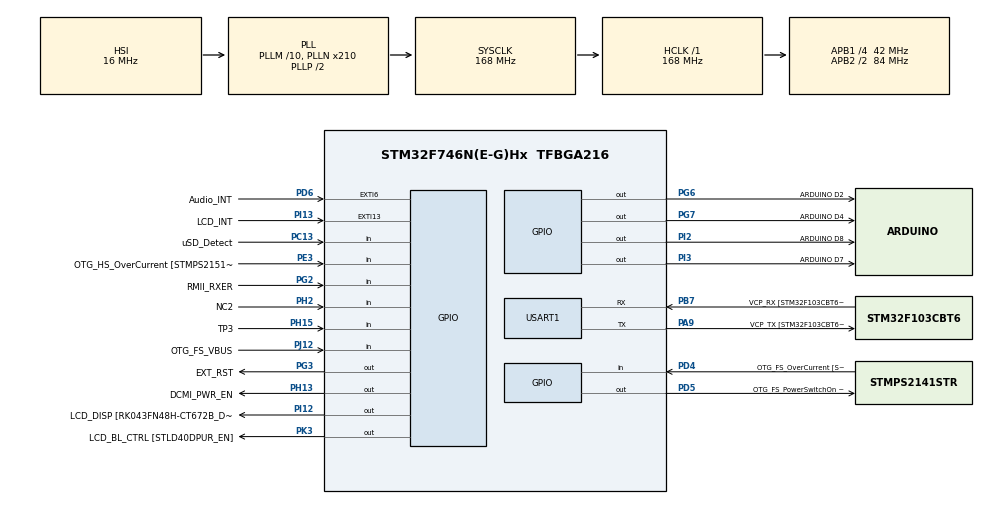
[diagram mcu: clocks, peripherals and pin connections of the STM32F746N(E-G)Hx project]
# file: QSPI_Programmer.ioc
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Mcu.Family=STM32F7
Mcu.Name=STM32F746N(E-G)Hx
Mcu.Package=TFBGA216
NVIC.PriorityGroup=NVIC_PRIORITYGROUP_4
NVIC.USART1_IRQn=true\:0\:0\:false
PA0/WKUP.GPIO_Label=ARDUINO A0
PA0/WKUP.GPIO_Mode=GPIO_MODE_ANALOG
PA0/WKUP.GPIO_PuPd=GPIO_NOPULL
PA0/WKUP.Signal=ADCx_IN0
PA1.GPIO_Label=RMII_REF_CLK [LAN8742A-CZ-TR_REFCLK0]
PA1.Signal=ETH_REF_CLK
PA10.GPIO_Label=OTG_FS_ID
PA10.Signal=USB_OTG_FS_ID
PA11.GPIO_Label=OTG_FS_N
PA11.Signal=USB_OTG_FS_DM
PA12.GPIO_Label=OTG_FS_P
PA12.Signal=USB_OTG_FS_DP
PA13.GPIO_Label=SWDIO
PA13.Signal=SYS_JTMS-SWDIO
PA14.GPIO_Label=SWCLK
PA14.Signal=SYS_JTCK-SWCLK
PA15.GPIO_Label=ARDUINO PWM/D9
PA15.GPIO_ModeDefaultPP=GPIO_MODE_AF_PP
PA15.GPIO_PuPd=GPIO_NOPULL
PA15.GPIO_Speed=GPIO_SPEED_LOW
PA15.Signal=S_TIM2_CH1_ETR
PA2.GPIO_Label=RMII_MDIO [LAN8742A-CZ-TR_MDIO]
PA2.Signal=ETH_MDIO
PA3.GPIO_Label=ULPI_D0 [USB3320C-EZK_D0]
PA3.Signal=USB_OTG_HS_ULPI_D0
PA4.GPIO_Label=DCMI_HSYNC
PA4.Signal=DCMI_HSYNC
PA5.GPIO_Label=ULPI_CLK [USB3320C-EZK_CLKOUT]
PA5.Signal=USB_OTG_HS_ULPI_CK
PA6.Signal=DCMI_PIXCLK
PA7.GPIO_Label=RMII_CRS_DV [LAN8742A-CZ-TR_CRS_DV]
PA7.Signal=ETH_CRS_DV
PA8.GPIO_Label=ARDUINO PWM/D5
PA8.GPIO_ModeDefaultPP=GPIO_MODE_AF_PP
PA8.GPIO_PuPd=GPIO_NOPULL
PA8.GPIO_Speed=GPIO_SPEED_LOW
PA8.Signal=S_TIM1_CH1
PA9.GPIO_Label=VCP_TX [STM32F103CBT6_PA3]
PA9.GPIO_Mode=GPIO_MODE_AF_PP
PA9.GPIO_PuPd=GPIO_NOPULL
PA9.GPIO_Speed=GPIO_SPEED_LOW
PA9.Mode=Asynchronous
PA9.Signal=USART1_TX
PB0.GPIO_Label=ULPI_D1 [USB3320C-EZK_D1]
PB0.Signal=USB_OTG_HS_ULPI_D1
PB1.GPIO_Label=ULPI_D2 [USB3320C-EZK_D2]
PB1.Signal=USB_OTG_HS_ULPI_D2
PB10.GPIO_Label=ULPI_D3 [USB3320C-EZK_D3]
PB10.Signal=USB_OTG_HS_ULPI_D3
PB11.GPIO_Label=ULPI_D4 [USB3320C-EZK_D4]
PB11.Signal=USB_OTG_HS_ULPI_D4
PB12.GPIO_Label=ULPI_D5 [USB3320C-EZK_D5]
PB12.Signal=USB_OTG_HS_ULPI_D5
PB13.GPIO_Label=ULPI_D6 [USB3320C-EZK_D6]
PB13.Signal=USB_OTG_HS_ULPI_D6
PB14.GPIO_Label=ARDUINO MISO/D12
PB14.GPIO_Mode=GPIO_MODE_AF_PP
PB14.GPIO_PuPd=GPIO_NOPULL
PB14.GPIO_Speed=GPIO_SPEED_LOW
PB14.Signal=SPI2_MISO
PB15.GPIO_Label=ARDUINO MOSI/PWM/D11
PB15.GPIO_Mode=GPIO_MODE_AF_PP
PB15.GPIO_PuPd=GPIO_NOPULL
PB15.GPIO_Speed=GPIO_SPEED_LOW
PB15.Signal=SPI2_MOSI
PB2.Signal=QUADSPI_CLK
PB3.GPIO_Label=SWO
PB3.Signal=SYS_JTDO-SWO
PB4.GPIO_Label=ARDUINO PWM/D3
PB4.GPIO_ModeDefaultPP=GPIO_MODE_AF_PP
PB4.GPIO_PuPd=GPIO_NOPULL
PB4.GPIO_Speed=GPIO_SPEED_LOW
PB4.Signal=S_TIM3_CH1
PB5.GPIO_Label=ULPI_D7 [USB3320C-EZK_D7]
PB5.Signal=USB_OTG_HS_ULPI_D7
PB6.GPIO_Label=QSPI_NCS [N25Q128A13EF840E_S]
PB6.Signal=QUADSPI_BK1_NCS
PB7.GPIO_Label=VCP_RX [STM32F103CBT6_PA2]
PB7.GPIO_Mode=GPIO_MODE_AF_PP
PB7.GPIO_PuPd=GPIO_NOPULL
PB7.GPIO_Speed=GPIO_SPEED_LOW
PB7.Mode=Asynchronous
PB7.Signal=USART1_RX
PB8.GPIO_Label=ARDUINO SCL/D15
PB8.GPIO_Mode=GPIO_MODE_AF_OD
PB8.GPIO_PuPd=GPIO_NOPULL
PB8.GPIO_Speed=GPIO_SPEED_LOW
PB8.Signal=I2C1_SCL
PB9.GPIO_Label=ARDUINO SDA/D14
PB9.GPIO_Mode=GPIO_MODE_AF_OD
PB9.GPIO_PuPd=GPIO_NOPULL
PB9.GPIO_Speed=GPIO_SPEED_LOW
PB9.Signal=I2C1_SDA
PC0.GPIO_Label=ULPI_STP [USB3320C-EZK_STP]
PC0.Signal=USB_OTG_HS_ULPI_STP
PC1.GPIO_Label=RMII_MDC [LAN8742A-CZ-TR_MDC]
PC1.Signal=ETH_MDC
PC10.GPIO_Label=SDMMC_D2
PC10.Signal=SDMMC1_D2
PC11.GPIO_Label=SDMMC_D3
PC11.Signal=SDMMC1_D3
PC12.GPIO_Label=SDMMC_CK
PC12.Signal=SDMMC1_CK
PC13.GPIO_Label=uSD_Detect
PC13.Signal=GPIO_Input
PC14/OSC32_IN.GPIO_Label=RCC_OSC32_IN
PC14/OSC32_IN.Signal=RCC_OSC32_IN
PC15/OSC32_OUT.GPIO_Label=RCC_OSC32_OUT
PC15/OSC32_OUT.Signal=RCC_OSC32_OUT
PC2.GPIO_Label=ULPI_DIR [USB3320C-EZK_DIR]
PC2.Signal=USB_OTG_HS_ULPI_DIR
PC3.GPIO_Label=FMC_SDCKE0 [MT48LC4M32B2B5-6A_CKE]
PC3.Signal=FMC_SDCKE0
PC4.GPIO_Label=RMII_RXD0 [LAN8742A-CZ-TR_RXD0]
PC4.Signal=ETH_RXD0
PC5.GPIO_Label=RMII_RXD1 [LAN8742A-CZ-TR_RXD1]
PC5.Signal=ETH_RXD1
PC6.GPIO_Label=ARDUINO TX/D1
PC6.Signal=USART6_TX
PC7.GPIO_Label=ARDUINO RX/D0
PC7.Signal=USART6_RX
PC8.Signal=SDMMC1_D0
PC9.Signal=SDMMC1_D1
PD0.GPIO_Label=FMC_D2 [MT48LC4M32B2B5-6A_DQ2]
PD0.Signal=FMC_D2_DA2
PD1.GPIO_Label=FMC_D3 [MT48LC4M32B2B5-6A_DQ3]
PD1.Signal=FMC_D3_DA3
PD10.GPIO_Label=FMC_D15 [MT48LC4M32B2B5-6A_DQ15]
PD10.Signal=FMC_D15_DA15
PD11.GPIO_Label=QSPI_D0 [N25Q128A13EF840E_DQ0]
PD11.Signal=QUADSPI_BK1_IO0
PD12.GPIO_Label=QSPI_D1 [N25Q128A13EF840E_DQ1]
PD12.Signal=QUADSPI_BK1_IO1
PD13.GPIO_Label=QSPI_D3 [N25Q128A13EF840E_DQ3]
PD13.Signal=QUADSPI_BK1_IO3
PD14.GPIO_Label=FMC_D0 [MT48LC4M32B2B5-6A_DQ0]
PD14.Signal=FMC_D0_DA0
PD15.GPIO_Label=FMC_D1 [MT48LC4M32B2B5-6A_DQ1]
PD15.Signal=FMC_D1_DA1
PD2.GPIO_Label=SDMMC_D0
PD2.Signal=SDMMC1_CMD
PD3.GPIO_Label=DCMI_D5
PD3.Signal=DCMI_D5
PD4.GPIO_Label=OTG_FS_OverCurrent [STMPS2141STR_Fault]
PD4.Signal=GPIO_Input
PD5.GPIO_Label=OTG_FS_PowerSwitchOn [STMPS2141STR_EN]
PD5.Signal=GPIO_Output
PD6.GPIO_Label=Audio_INT
PD6.GPIO_ModeDefaultEXTI=GPIO_MODE_EVT_RISING
PD6.Signal=GPXTI6
PD7.GPIO_Label=SPDIF_RX0 [74LVC1G04SE_4]
PD7.Signal=SPDIFRX_IN0
PD8.GPIO_Label=FMC_D13 [MT48LC4M32B2B5-6A_DQ13]
PD8.Signal=FMC_D13_DA13
PD9.GPIO_Label=FMC_D14 [MT48LC4M32B2B5-6A_DQ14]
PD9.Signal=FMC_D14_DA14
PE0.GPIO_Label=FMC_NBL0 [MT48LC4M32B2B5-6A_DQM0]
PE0.Signal=FMC_NBL0
PE1.GPIO_Label=FMC_NBL1 [MT48LC4M32B2B5-6A_DQM1]
PE1.Signal=FMC_NBL1
PE10.GPIO_Label=FMC_D7 [MT48LC4M32B2B5-6A_DQ7]
PE10.Signal=FMC_D7_DA7
PE11.GPIO_Label=FMC_D8 [MT48LC4M32B2B5-6A_DQ8]
PE11.Signal=FMC_D8_DA8
PE12.GPIO_Label=FMC_D9 [MT48LC4M32B2B5-6A_DQ9]
PE12.Signal=FMC_D9_DA9
PE13.GPIO_Label=FMC_D10 [MT48LC4M32B2B5-6A_DQ10]
PE13.Signal=FMC_D10_DA10
PE14.GPIO_Label=FMC_D11 [MT48LC4M32B2B5-6A_DQ11]
PE14.Signal=FMC_D11_DA11
PE15.GPIO_Label=FMC_D12 [MT48LC4M32B2B5-6A_DQ12]
PE15.Signal=FMC_D12_DA12
PE2.GPIO_Label=QSPI_D2 [N25Q128A13EF840E_DQ2]
PE2.Signal=QUADSPI_BK1_IO2
PE3.GPIO_Label=OTG_HS_OverCurrent [STMPS2151STR_FAULT]
PE3.Signal=GPIO_Input
PE4.GPIO_Label=LCD_B0 [RK043FN48H-CT672B_B0]
PE4.Signal=LTDC_B0
PE5.GPIO_Label=DCMI_D6
PE5.Signal=DCMI_D6
PE6.GPIO_Label=DCMI_D7
PE6.Signal=DCMI_D7
PE7.GPIO_Label=FMC_D4 [MT48LC4M32B2B5-6A_DQ4]
PE7.Signal=FMC_D4_DA4
PE8.GPIO_Label=FMC_D5 [MT48LC4M32B2B5-6A_DQ5]
PE8.Signal=FMC_D5_DA5
PE9.GPIO_Label=FMC_D6 [MT48LC4M32B2B5-6A_DQ6]
PE9.Signal=FMC_D6_DA6
PF0.GPIO_Label=FMC_A0 [MT48LC4M32B2B5-6A_A0]
PF0.Signal=FMC_A0
PF1.GPIO_Label=FMC_A1 [MT48LC4M32B2B5-6A_A1]
PF1.Signal=FMC_A1
PF10.GPIO_Label=ARDUINO A1
PF10.GPIO_Mode=GPIO_MODE_ANALOG
PF10.GPIO_PuPd=GPIO_NOPULL
PF10.Signal=ADC3_IN8
PF11.GPIO_Label=FMC_SDNRAS [MT48LC4M32B2B5-6A_RAS]
PF11.Signal=FMC_SDNRAS
PF12.GPIO_Label=FMC_A6 [MT48LC4M32B2B5-6A_A6]
PF12.Signal=FMC_A6
PF13.GPIO_Label=FMC_A7 [MT48LC4M32B2B5-6A_A7]
PF13.Signal=FMC_A7
PF14.GPIO_Label=FMC_A8 [MT48LC4M32B2B5-6A_A8]
PF14.Signal=FMC_A8
PF15.GPIO_Label=FMC_A9 [MT48LC4M32B2B5-6A_A9]
PF15.Signal=FMC_A9
PF2.GPIO_Label=FMC_A2 [MT48LC4M32B2B5-6A_A2]
PF2.Signal=FMC_A2
PF3.GPIO_Label=FMC_A3 [MT48LC4M32B2B5-6A_A3]
PF3.Signal=FMC_A3
PF4.GPIO_Label=FMC_A4 [MT48LC4M32B2B5-6A_A4]
PF4.Signal=FMC_A4
PF5.GPIO_Label=FMC_A5 [MT48LC4M32B2B5-6A_A5]
PF5.Signal=FMC_A5
PF6.GPIO_Label=ARDUINO A5
PF6.GPIO_Mode=GPIO_MODE_ANALOG
PF6.GPIO_PuPd=GPIO_NOPULL
PF6.Signal=ADC3_IN4
PF7.GPIO_Label=ARDUINO A4
PF7.GPIO_Mode=GPIO_MODE_ANALOG
PF7.GPIO_PuPd=GPIO_NOPULL
PF7.Signal=ADC3_IN5
PF8.GPIO_Label=ARDUINO A3
PF8.GPIO_Mode=GPIO_MODE_ANALOG
PF8.GPIO_PuPd=GPIO_NOPULL
PF8.Signal=ADC3_IN6
PF9.GPIO_Label=ARDUINO A2
PF9.GPIO_Mode=GPIO_MODE_ANALOG
PF9.GPIO_PuPd=GPIO_NOPULL
PF9.Signal=ADC3_IN7
PG0.GPIO_Label=FMC_A10 [MT48LC4M32B2B5-6A_A10]
PG0.Signal=FMC_A10
PG1.GPIO_Label=FMC_A11 [MT48LC4M32B2B5-6A_A11]
PG1.Signal=FMC_A11
PG10.GPIO_Label=SAI2_SDB [WM8994ECS/R_ADCDAT1]
PG10.Signal=SAI2_SD_B
PG11.GPIO_Label=RMII_TX_EN [LAN8742A-CZ-TR_TXEN]
PG11.Signal=ETH_TX_EN
PG12.GPIO_Label=LCD_B4 [RK043FN48H-CT672B_B4]
PG12.Signal=LTDC_B4
PG13.GPIO_Label=RMII_TXD0 [LAN8742A-CZ-TR_TXD0]
PG13.Signal=ETH_TXD0
PG14.GPIO_Label=RMII_TXD1 [LAN8742A-CZ-TR_TXD1]
PG14.Signal=ETH_TXD1
PG15.GPIO_Label=FMC_SDNCAS [MT48LC4M32B2B5-6A_CAS]
PG15.Signal=FMC_SDNCAS
PG2.GPIO_Label=RMII_RXER
PG2.Signal=GPIO_Input
PG3.GPIO_Label=EXT_RST
PG3.Signal=GPIO_Output
PG4.GPIO_Label=FMC_BA0 [MT48LC4M32B2B5-6A_BA0]
PG4.Signal=FMC_A14_BA0
PG5.GPIO_Label=FMC_BA1 [MT48LC4M32B2B5-6A_BA1]
PG5.Signal=FMC_A15_BA1
PG6.GPIO_Label=ARDUINO D2
PG6.Signal=GPIO_Output
PG7.GPIO_Label=ARDUINO D4
PG7.Signal=GPIO_Output
PG8.GPIO_Label=FMC_SDCLK [MT48LC4M32B2B5-6A_CLK]
PG8.Signal=FMC_SDCLK
PG9.GPIO_Label=DCMI_VSYNC
PG9.Signal=DCMI_VSYNC
PH0/OSC_IN.GPIO_Label=OSC_25M [NZ2520SB-25.00M_OUT]
PH0/OSC_IN.Signal=RCC_OSC_IN
PH1/OSC_OUT.Signal=RCC_OSC_OUT
PH10.GPIO_Label=DCMI_D1
PH10.Signal=DCMI_D1
PH11.GPIO_Label=DCMI_D2
PH11.Signal=DCMI_D2
PH12.GPIO_Label=DCMI_D3
PH12.Signal=DCMI_D3
PH13.GPIO_Label=DCMI_PWR_EN
PH13.Signal=GPIO_Output
PH14.GPIO_Label=DCMI_D4
PH14.Signal=DCMI_D4
PH15.GPIO_Label=TP3
PH15.Signal=GPIO_Input
PH2.GPIO_Label=NC2
PH2.Signal=GPIO_Input
PH3.GPIO_Label=FMC_SDNE0 [MT48LC4M32B2B5-6A_CS]
PH3.Signal=FMC_SDNE0
PH4.GPIO_Label=ULPI_NXT [USB3320C-EZK_NXT]
PH4.Signal=USB_OTG_HS_ULPI_NXT
PH5.GPIO_Label=FMC_SDNME [MT48LC4M32B2B5-6A_WE]
PH5.Signal=FMC_SDNWE
PH6.GPIO_Label=ARDUINO PWM/D6
PH6.Signal=S_TIM12_CH1
PH7.GPIO_Label=LCD_SCL [RK043FN48H-CT672B_SCL]
PH7.Signal=I2C3_SCL
PH8.GPIO_Label=LCD_SDA [RK043FN48H-CT672B_SDA]
PH8.Signal=I2C3_SDA
PH9.GPIO_Label=DCMI_D0
PH9.Signal=DCMI_D0
PI0.GPIO_Label=ARDUINO PWM/CS/D10
PI0.GPIO_ModeDefaultPP=GPIO_MODE_AF_PP
PI0.GPIO_PuPd=GPIO_NOPULL
PI0.GPIO_Speed=GPIO_SPEED_LOW
PI0.Signal=S_TIM5_CH4
PI1.GPIO_Label=ARDUINO SCK/D13
PI1.GPIO_Mode=GPIO_MODE_AF_PP
PI1.GPIO_PuPd=GPIO_NOPULL
PI1.GPIO_Speed=GPIO_SPEED_LOW
PI1.Signal=SPI2_SCK
PI10.GPIO_Label=LCD_HSYNC [RK043FN48H-CT672B_HSYNC]
PI10.Signal=LTDC_HSYNC
PI12.GPIO_Label=LCD_DISP [RK043FN48H-CT672B_DISP] 
PI12.Signal=GPIO_Output
PI13.GPIO_Label=LCD_INT
PI13.GPIO_ModeDefaultEXTI=GPIO_MODE_EVT_RISING
PI13.Signal=GPXTI13
PI14.GPIO_Label=LCD_CLK [RK043FN48H-CT672B_CLK]
PI14.Signal=LTDC_CLK
PI15.GPIO_Label=LCD_R0 [RK043FN48H-CT672B_R0]
PI15.Signal=LTDC_R0
PI2.GPIO_Label=ARDUINO D8
PI2.Signal=GPIO_Output
PI3.GPIO_Label=ARDUINO D7
PI3.Signal=GPIO_Output
PI4.GPIO_Label=SAI2_MCLKA [WM8994ECS/R_MCLK1]
PI4.Signal=SAI2_MCLK_A
PI5.GPIO_Label=SAI2_SCKA [WM8994ECS/R_BCLK1]
PI5.Signal=SAI2_SCK_A
PI6.GPIO_Label=SAI2_SDA [WM8994ECS/R_DACDAT1]
PI6.Signal=SAI2_SD_A
PI7.GPIO_Label=SAI2_FSA [WM8994ECS/R_LRCLK1]
PI7.Signal=SAI2_FS_A
PI8.GPIO_Label=NC1 [TP2]
PI8.Signal=RTC_TS
PI9.GPIO_Label=LCD_VSYNC [RK043FN48H-CT672B_VSYNC]
PI9.Signal=LTDC_VSYNC
PJ0.GPIO_Label=LCD_R1 [RK043FN48H-CT672B_R1]
PJ0.Signal=LTDC_R1
PJ1.GPIO_Label=LCD_R2 [RK043FN48H-CT672B_R2]
PJ1.Signal=LTDC_R2
PJ10.GPIO_Label=LCD_G3 [RK043FN48H-CT672B_G3]
PJ10.Signal=LTDC_G3
PJ11.GPIO_Label=LCD_G4 [RK043FN48H-CT672B_G4]
PJ11.Signal=LTDC_G4
PJ12.GPIO_Label=OTG_FS_VBUS
PJ12.Signal=GPIO_Input
PJ13.GPIO_Label=LCD_B1 [RK043FN48H-CT672B_B1]
PJ13.Signal=LTDC_B1
PJ14.GPIO_Label=LCD_B2 [RK043FN48H-CT672B_B2]
PJ14.Signal=LTDC_B2
PJ15.GPIO_Label=LCD_B3 [RK043FN48H-CT672B_B3]
PJ15.Signal=LTDC_B3
PJ2.GPIO_Label=LCD_R3 [RK043FN48H-CT672B_R3]
PJ2.Signal=LTDC_R3
PJ3.GPIO_Label=LCD_R4 [RK043FN48H-CT672B_R4]
PJ3.Signal=LTDC_R4
PJ4.GPIO_Label=LCD_R5 [RK043FN48H-CT672B_R5]
PJ4.Signal=LTDC_R5
PJ5.GPIO_Label=LCD_R6 [RK043FN48H-CT672B_R6]
PJ5.Signal=LTDC_R6
PJ6.GPIO_Label=LCD_R7 [RK043FN48H-CT672B_R7]
PJ6.Signal=LTDC_R7
PJ7.GPIO_Label=LCD_G0 [RK043FN48H-CT672B_G0]
PJ7.Signal=LTDC_G0
PJ8.GPIO_Label=LCD_G1 [RK043FN48H-CT672B_G1]
PJ8.Signal=LTDC_G1
PJ9.GPIO_Label=LCD_G2 [RK043FN48H-CT672B_G2]
PJ9.Signal=LTDC_G2
PK0.GPIO_Label=LCD_G5 [RK043FN48H-CT672B_G5]
PK0.Signal=LTDC_G5
PK1.GPIO_Label=LCD_G6 [RK043FN48H-CT672B_G6]
PK1.Signal=LTDC_G6
PK2.GPIO_Label=LCD_G7 [RK043FN48H-CT672B_G7]
PK2.Signal=LTDC_G7
PK3.GPIO_Label=LCD_BL_CTRL [STLD40DPUR_EN]
PK3.Signal=GPIO_Output
PK4.GPIO_Label=LCD_B5 [RK043FN48H-CT672B_B5]
PK4.Signal=LTDC_B5
PK5.GPIO_Label=LCD_B6 [RK043FN48H-CT672B_B6]
PK5.Signal=LTDC_B6
PK6.GPIO_Label=LCD_B7 [RK043FN48H-CT672B_B7]
PK6.Signal=LTDC_B7
PK7.GPIO_Label=LCD_DE [RK043FN48H-CT672B_DE]
PK7.Signal=LTDC_DE
ProjectManager.HeapSize=0x400
ProjectManager.StackSize=0x200
ProjectManager.TargetToolchain=SW4STM32
RCC.AHBFreq_Value=168000000
RCC.APB1CLKDivider=RCC_HCLK_DIV4
RCC.APB1Freq_Value=42000000
RCC.APB1TimFreq_Value=84000000
RCC.APB2CLKDivider=RCC_HCLK_DIV2
RCC.APB2Freq_Value=84000000
RCC.APB2TimFreq_Value=168000000
RCC.CortexFreq_Value=168000000
RCC.HCLKFreq_Value=168000000
RCC.HSE_VALUE=25000000
RCC.HSI_VALUE=16000000
RCC.LSE_VALUE=32768
RCC.PLLM=10
RCC.PLLN=210
RCC.PLLSourceVirtual=RCC_PLLSOURCE_HSI
RCC.SYSCLKFreq_VALUE=168000000
RCC.SYSCLKSource=RCC_SYSCLKSOURCE_PLLCLK
RCC.USBFreq_Value=168000000
RCC.VCOOutputFreq_Value=336000000
SH.ADCx_IN0.0=ADC3_IN0
SH.FMC_A0.0=FMC_A0
SH.FMC_A1.0=FMC_A1
SH.FMC_A10.0=FMC_A10
SH.FMC_A11.0=FMC_A11
SH.FMC_A14_BA0.0=FMC_BA0
SH.FMC_A15_BA1.0=FMC_BA1
SH.FMC_A2.0=FMC_A2
SH.FMC_A3.0=FMC_A3
SH.FMC_A4.0=FMC_A4
SH.FMC_A5.0=FMC_A5
SH.FMC_A6.0=FMC_A6
SH.FMC_A7.0=FMC_A7
SH.FMC_A8.0=FMC_A8
SH.FMC_A9.0=FMC_A9
SH.FMC_D0_DA0.0=FMC_D0
SH.FMC_D10_DA10.0=FMC_D10
SH.FMC_D11_DA11.0=FMC_D11
SH.FMC_D12_DA12.0=FMC_D12
SH.FMC_D13_DA13.0=FMC_D13
SH.FMC_D14_DA14.0=FMC_D14
SH.FMC_D15_DA15.0=FMC_D15
SH.FMC_D1_DA1.0=FMC_D1
SH.FMC_D2_DA2.0=FMC_D2
SH.FMC_D3_DA3.0=FMC_D3
SH.FMC_D4_DA4.0=FMC_D4
SH.FMC_D5_DA5.0=FMC_D5
SH.FMC_D6_DA6.0=FMC_D6
SH.FMC_D7_DA7.0=FMC_D7
SH.FMC_D8_DA8.0=FMC_D8
SH.FMC_D9_DA9.0=FMC_D9
SH.FMC_NBL0.0=FMC_NBL0
SH.FMC_NBL1.0=FMC_NBL1
SH.FMC_SDCLK.0=FMC_SDCLK
SH.FMC_SDNCAS.0=FMC_SDNCAS
SH.FMC_SDNRAS.0=FMC_SDNRAS
SH.FMC_SDNWE.0=FMC_SDNWE
SH.S_TIM12_CH1.0=TIM12_CH1
SH.S_TIM1_CH1.0=TIM1_CH1
SH.S_TIM2_CH1_ETR.0=TIM2_CH1
SH.S_TIM3_CH1.0=TIM3_CH1
SH.S_TIM5_CH4.0=TIM5_CH4
USART1.WordLength=UART_WORDLENGTH_8B
board=STM32F746G-DISCO

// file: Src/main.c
/**
  ******************************************************************************
  * File Name          : main.c
  * Description        : Main program body
  ******************************************************************************
  *
  * COPYRIGHT(c) 2016 STMicroelectronics
  *
  * Redistribution and use in source and binary forms, with or without modification,
  * are permitted provided that the following conditions are met:
  *   1. Redistributions of source code must retain the above copyright notice,
  *      this list of conditions and the following disclaimer.
  *   2. Redistributions in binary form must reproduce the above copyright notice,
  *      this list of conditions and the following disclaimer in the documentation
  *      and/or other materials provided with the distribution.
  *   3. Neither the name of STMicroelectronics nor the names of its contributors
  *      may be used to endorse or promote products derived from this software
  *      without specific prior written permission.
  *
  * THIS SOFTWARE IS PROVIDED BY THE COPYRIGHT HOLDERS AND CONTRIBUTORS "AS IS"
  * AND ANY EXPRESS OR IMPLIED WARRANTIES, INCLUDING, BUT NOT LIMITED TO, THE
  * IMPLIED WARRANTIES OF MERCHANTABILITY AND FITNESS FOR A PARTICULAR PURPOSE ARE
  * DISCLAIMED. IN NO EVENT SHALL THE COPYRIGHT HOLDER OR CONTRIBUTORS BE LIABLE
  * FOR ANY DIRECT, INDIRECT, INCIDENTAL, SPECIAL, EXEMPLARY, OR CONSEQUENTIAL
  * DAMAGES (INCLUDING, BUT NOT LIMITED TO, PROCUREMENT OF SUBSTITUTE GOODS OR
  * SERVICES; LOSS OF USE, DATA, OR PROFITS; OR BUSINESS INTERRUPTION) HOWEVER
  * CAUSED AND ON ANY THEORY OF LIABILITY, WHETHER IN CONTRACT, STRICT LIABILITY,
  * OR TORT (INCLUDING NEGLIGENCE OR OTHERWISE) ARISING IN ANY WAY OUT OF THE USE
  * OF THIS SOFTWARE, EVEN IF ADVISED OF THE POSSIBILITY OF SUCH DAMAGE.
  *
  ******************************************************************************
  */
#include "stm32f7xx_hal.h"
#include "usart.h"
#include "gpio.h"

/* USER CODE BEGIN Includes */
#include <string.h>
#include "stm32746g_discovery_qspi.h"
#include "Circ_Buff.h"
/* USER CODE END Includes */

/* USER CODE BEGIN PV */
/* Private variables ---------------------------------------------------------*/

// Application should provide the user with this key to begin QSPI Operation
// 16 bit key
#define MASTER_KEY 0x3030303030303031
#define UART_TIMEOUT 10000
#define USART_HANDLE huart1

// Stores characters received through the UART Interface to later check password.
circularBuffer *passBuffer;

uint8_t singleByteBuffer;

/* USER CODE END PV */

void SystemClock_Config(void);

/* USER CODE BEGIN PFP */
/* Private function prototypes -----------------------------------------------*/
int checkKey();
void QSPI_MemoryDump();
void QSPI_WriteMem();
/* USER CODE END PFP */

int main(void)
{

  /* MCU Configuration----------------------------------------------------------*/

  /* Reset of all peripherals, Initializes the Flash interface and the Systick. */
  HAL_Init();

  /* Configure the system clock */
  SystemClock_Config();

  /* Initialize all configured peripherals */
  MX_GPIO_Init();
  MX_USART1_UART_Init();

  /* USER CODE BEGIN 2 */
  BSP_QSPI_Init();

  passBuffer = circularBuffer_CreateBuffer(8);

  HAL_UART_Receive_IT(&USART_HANDLE, &singleByteBuffer, 1);
  /* USER CODE END 2 */

  /* Infinite loop */
  while (1)
  {

  }

}

/** System Clock Configuration
*/
void SystemClock_Config(void)
{

  RCC_OscInitTypeDef RCC_OscInitStruct;
  RCC_ClkInitTypeDef RCC_ClkInitStruct;
  RCC_PeriphCLKInitTypeDef PeriphClkInitStruct;

  __PWR_CLK_ENABLE();

  __HAL_PWR_VOLTAGESCALING_CONFIG(PWR_REGULATOR_VOLTAGE_SCALE2);

  RCC_OscInitStruct.OscillatorType = RCC_OSCILLATORTYPE_HSI;
  RCC_OscInitStruct.HSIState = RCC_HSI_ON;
  RCC_OscInitStruct.HSICalibrationValue = 16;
  RCC_OscInitStruct.PLL.PLLState = RCC_PLL_ON;
  RCC_OscInitStruct.PLL.PLLSource = RCC_PLLSOURCE_HSI;
  RCC_OscInitStruct.PLL.PLLM = 10;
  RCC_OscInitStruct.PLL.PLLN = 210;
  RCC_OscInitStruct.PLL.PLLP = RCC_PLLP_DIV2;
  RCC_OscInitStruct.PLL.PLLQ = 2;
  HAL_RCC_OscConfig(&RCC_OscInitStruct);

  RCC_ClkInitStruct.ClockType = RCC_CLOCKTYPE_HCLK|RCC_CLOCKTYPE_SYSCLK
                              |RCC_CLOCKTYPE_PCLK1|RCC_CLOCKTYPE_PCLK2;
  RCC_ClkInitStruct.SYSCLKSource = RCC_SYSCLKSOURCE_PLLCLK;
  RCC_ClkInitStruct.AHBCLKDivider = RCC_SYSCLK_DIV1;
  RCC_ClkInitStruct.APB1CLKDivider = RCC_HCLK_DIV4;
  RCC_ClkInitStruct.APB2CLKDivider = RCC_HCLK_DIV2;
  HAL_RCC_ClockConfig(&RCC_ClkInitStruct, FLASH_LATENCY_5);

  PeriphClkInitStruct.PeriphClockSelection = RCC_PERIPHCLK_USART1;
  PeriphClkInitStruct.Usart1ClockSelection = RCC_USART1CLKSOURCE_PCLK2;
  HAL_RCCEx_PeriphCLKConfig(&PeriphClkInitStruct);

  HAL_SYSTICK_Config(HAL_RCC_GetHCLKFreq()/1000);

  HAL_SYSTICK_CLKSourceConfig(SYSTICK_CLKSOURCE_HCLK);

  /* SysTick_IRQn interrupt configuration */
  HAL_NVIC_SetPriority(SysTick_IRQn, 0, 0);
}

/* USER CODE BEGIN 4 */
void HAL_UART_RxCpltCallback(UART_HandleTypeDef *huart){
	static uint8_t pModeActive = 0;

	if (pModeActive) {
		switch (singleByteBuffer) {
		case 0x30:
			QSPI_MemoryDump();
			break;
		case 0x31:
			QSPI_WriteMem();
			break;
		default:
			break;
		}
		pModeActive = 0;
	} else {
		circularBuffer_Write(passBuffer, singleByteBuffer);
		if (checkKey()) {
			pModeActive = 1;
		}
	}
	HAL_UART_Receive_IT(&huart1, &singleByteBuffer, 1);
}

int checkKey() {
	uint64_t masterKey = MASTER_KEY;
	uint8_t *keyPointer = (uint8_t*)&masterKey;

	uint8_t i;
	for (i = 0; i < 8; i++) {
		if (keyPointer[i] != circularBuffer_Read(passBuffer, i)) return 0;
	}

	// If it reaches this point, Key is CORRECT
	return 1;
}

void QSPI_MemoryDump() {
	uint32_t i = 0;

	// Transmit ACK
	uint8_t ACK = 0xAA;
	HAL_UART_Transmit(&USART_HANDLE, &ACK, 1, UART_TIMEOUT);

	// Receive Dump Length and Start Address
	uint32_t length;
	HAL_UART_Receive(&USART_HANDLE, (uint8_t*)&length, 4, UART_TIMEOUT);
	length &= 0x7FFFFF; // Max 8 MB

	uint32_t addr;
	HAL_UART_Receive(&USART_HANDLE, (uint8_t*)&addr, 4, UART_TIMEOUT);
	addr &= 0x7FFFFF; // Max 8 MB

	uint8_t buff;
	for (i = 0; i <= length; i++) {
		BSP_QSPI_Read(&buff, i+addr, 1);
		HAL_UART_Transmit(&USART_HANDLE, &buff, 1, UART_TIMEOUT);
	}
}

void QSPI_WriteMem() {
	uint32_t i = 0;

	// Transmit ACK
	uint8_t ACK = 0xBB;
	HAL_UART_Transmit(&USART_HANDLE, &ACK, 1, UART_TIMEOUT);

	// Receive Dump Length and Start Address
	uint32_t length;
	HAL_UART_Receive(&USART_HANDLE, (uint8_t*)&length, 4, UART_TIMEOUT);
	length &= 0x7FFFFF; // Max 8 MB

	uint32_t addr;
	HAL_UART_Receive(&USART_HANDLE, (uint8_t*)&addr, 4, UART_TIMEOUT);
	addr &= 0x7FFFFF; // Max 8 MB

	// Erase Corresponding Memory Blocks
	for (i = addr; i <= addr+length; i += 0x1000) {
		BSP_QSPI_Erase_Block(i);
	}

	ACK = 0xAA;
	HAL_UART_Transmit(&USART_HANDLE, &ACK, 1, UART_TIMEOUT);

	// Write Data
	uint8_t buff[0x1000];
	for (i = 0; i <= length/0x1000; i++) {
		// Control Extreme cases
		if (length == 0) return;
		if (length == i*0x1000) return;
		// Receive data block
		if (HAL_UART_Receive(&USART_HANDLE, buff, (length-i*0x1000 > 0x1000) ? 0x1000: length-i*0x1000, UART_TIMEOUT)!= HAL_OK) return;
		// Commit block to memory
		if (BSP_QSPI_Write(buff, i*0x1000 + addr, (length-i*0x1000 > 0x1000) ? 0x1000: length-i*0x1000) != QSPI_OK) {
			return;
		}
		//Send Acknowledge signal
		HAL_UART_Transmit(&USART_HANDLE, &ACK, 1, UART_TIMEOUT);
	}
}

/* USER CODE END 4 */

/************************ (C) COPYRIGHT STMicroelectronics *****END OF FILE****/
